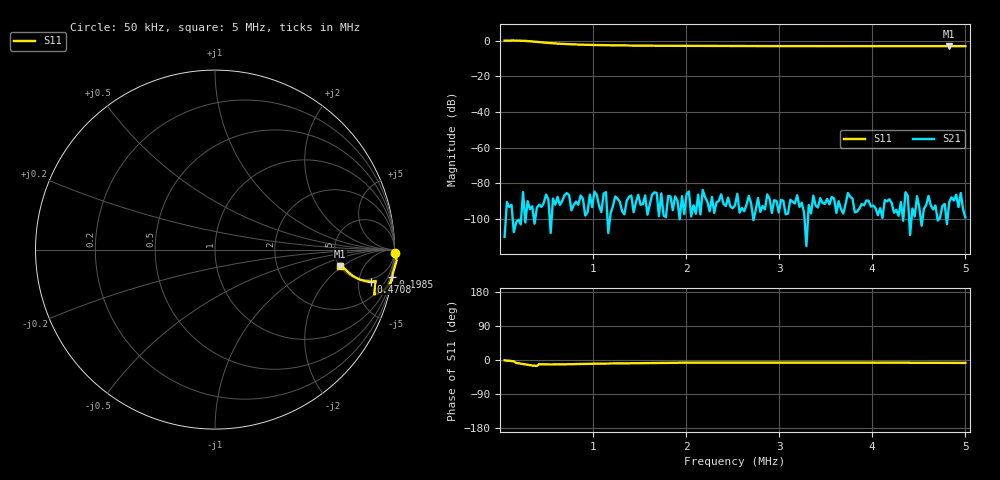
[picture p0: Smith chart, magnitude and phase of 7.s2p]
! NanoVNA-App by OneOfEleven et al v1.1.209 (+OD15)
! Date: 2024-07-30 12:37:13
! Start: 50kHz Stop: 5MHz Points: 201
! S-Parameter data: F S11 S21 S12 S22
# Hz S RI R 50
!  Frequency  S11_Real  S11_Imag  S21_Real  S21_Imag  S12_Real  S12_Imag  S22_Real  S22_Imag
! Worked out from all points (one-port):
!   201 points, 50 kHz to 5 MHz, reference 50 ohm
!   lowest |S11| = -3.1 dB at 4.827 MHz (marker M1), VSWR 5.69, Z = 251 - j90.5 ohm
!   |S11| at or under -10 dB: nowhere
!   S11 on the Smith chart (normalised r, x): 50 kHz: open; 198.5 kHz: 0, -13; 470.8 kHz: 4.37, -7.25; 5 MHz: 4.99, -1.84
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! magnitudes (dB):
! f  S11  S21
! 50 kHz  0.0  -110.1
! 74.75 kHz  0.0  -90.5
! 149 kHz  0.1  -107.4
! 173.8 kHz  0.0  -101.9
! 198.5 kHz  0.0  -100.4
! 248 kHz  -0.1  -84.9
! 297.5 kHz  -0.2  -90.0
! 470.8 kHz  -1.1  -90.9
! 569.8 kHz  -1.5  -88.5
! 668.8 kHz  -1.8  -90.0
! 792.5 kHz  -2.1  -92.2
! 891.5 kHz  -2.3  -88.6
! 1.04 MHz  -2.5  -86.5
! 1.263 MHz  -2.7  -88.6
! 1.486 MHz  -2.8  -86.5
! 1.708 MHz  -2.9  -98.4
! 2.005 MHz  -2.9  -86.0
! 2.525 MHz  -3.0  -92.4
! 3.366 MHz  -3.1  -86.9
! 4.183 MHz  -3.1  -88.9
! 4.827 MHz  -3.1  -90.5
! 5 MHz  -3.1  -99.2
